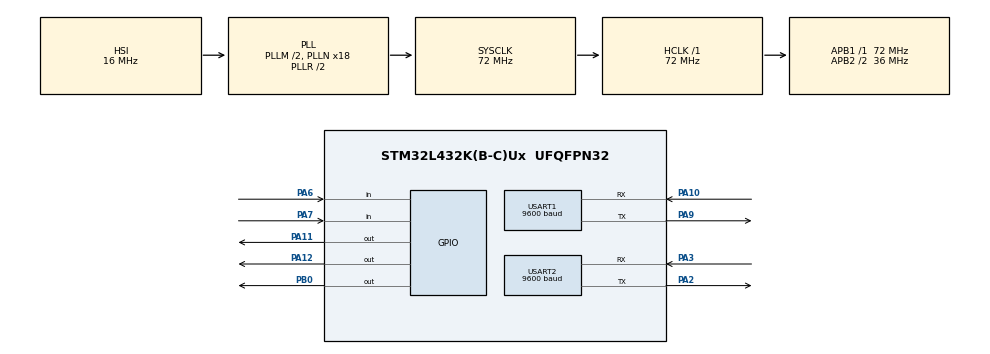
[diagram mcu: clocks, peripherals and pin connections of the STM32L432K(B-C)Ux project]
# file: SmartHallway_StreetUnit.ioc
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Mcu.Family=STM32L4
Mcu.Name=STM32L432K(B-C)Ux
Mcu.Package=UFQFPN32
NVIC.PriorityGroup=NVIC_PRIORITYGROUP_4
NVIC.TIM1_CC_IRQn=true\:0\:0\:false\:false\:true\:true\:true
NVIC.USART1_IRQn=true\:0\:0\:false\:false\:true\:true\:true
NVIC.USART2_IRQn=true\:0\:0\:false\:false\:true\:true\:true
PA10.Mode=Asynchronous
PA10.Signal=USART1_RX
PA11.Signal=GPIO_Output
PA12.Signal=GPIO_Output
PA13\ (JTMS-SWDIO).Mode=Serial_Wire
PA13\ (JTMS-SWDIO).Signal=SYS_JTMS-SWDIO
PA14\ (JTCK-SWCLK).Mode=Serial_Wire
PA14\ (JTCK-SWCLK).Signal=SYS_JTCK-SWCLK
PA2.Mode=Asynchronous
PA2.Signal=USART2_TX
PA3.Mode=Asynchronous
PA3.Signal=USART2_RX
PA6.Signal=GPIO_Input
PA7.Signal=GPIO_Input
PA9.Mode=Asynchronous
PA9.Signal=USART1_TX
PB0.Signal=GPIO_Output
PC14-OSC32_IN\ (PC14).Mode=LSE-External-Oscillator
PC14-OSC32_IN\ (PC14).Signal=RCC_OSC32_IN
PC15-OSC32_OUT\ (PC15).Mode=LSE-External-Oscillator
PC15-OSC32_OUT\ (PC15).Signal=RCC_OSC32_OUT
ProjectManager.HeapSize=0x200
ProjectManager.StackSize=0x400
ProjectManager.TargetToolchain=MDK-ARM V5.27
RCC.ADCFreq_Value=32000000
RCC.AHBFreq_Value=72000000
RCC.APB1Freq_Value=72000000
RCC.APB1TimFreq_Value=72000000
RCC.APB2CLKDivider=RCC_HCLK_DIV2
RCC.APB2Freq_Value=36000000
RCC.APB2TimFreq_Value=72000000
RCC.CortexFreq_Value=72000000
RCC.HCLKFreq_Value=72000000
RCC.HSE_VALUE=8000000
RCC.HSI48_VALUE=48000000
RCC.HSI_VALUE=16000000
RCC.MSI_VALUE=4000000
RCC.PLLM=2
RCC.PLLN=18
RCC.PLLSourceVirtual=RCC_PLLSOURCE_HSI
RCC.SYSCLKFreq_VALUE=72000000
RCC.SYSCLKSource=RCC_SYSCLKSOURCE_PLLCLK
RCC.USBFreq_Value=32000000
RCC.VCOOutputFreq_Value=144000000
TIM1.Period=0xffff-1
TIM1.Prescaler=8-1
USART1.BaudRate=9600
USART1.VirtualMode-Asynchronous=VM_ASYNC
USART2.BaudRate=9600
USART2.VirtualMode-Asynchronous=VM_ASYNC
VP_TIM1_VS_ClockSourceINT.Mode=Internal
board=custom

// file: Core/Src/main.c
/* USER CODE BEGIN Header */
/**
  ******************************************************************************
  * @file           : main.c
  * @brief          : Main program body
  ******************************************************************************
  * @attention
  *
  * <h2><center>&copy; Copyright (c) 2021 STMicroelectronics.
  * All rights reserved.</center></h2>
  *
  * This software component is licensed by ST under BSD 3-Clause license,
  * the "License"; You may not use this file except in compliance with the
  * License. You may obtain a copy of the License at:
  *                        opensource.org/licenses/BSD-3-Clause
  *
  ******************************************************************************
  */
/* USER CODE END Header */
#include "main.h"

/* USER CODE BEGIN PTD */
#define    BUZZER_PORT      GPIOA
#define    BUZZER_PIN       GPIO_PIN_11
/* USER CODE END PTD */

/* USER CODE BEGIN PD */
GPIO_TypeDef*   LED_PORTS[8] = { GPIOA,      GPIOB, 		 GPIOB, 		 GPIOB, 		 GPIOB, 		 GPIOC, 			GPIOC, 			 GPIOA, 		};
uint16_t        LED_PINS[8] =  { GPIO_PIN_12,GPIO_PIN_0, GPIO_PIN_7, GPIO_PIN_6, GPIO_PIN_1, GPIO_PIN_14, GPIO_PIN_15, GPIO_PIN_8,   };

GPIO_TypeDef*   IR_PORTS[8] = {GPIOA, 		 GPIOA, 		 GPIOA, 		 GPIOA, 		 GPIOA, 			GPIOA, 			 GPIOA			};
uint16_t 			  IR_PINS[8] = 	{GPIO_PIN_7, GPIO_PIN_6, GPIO_PIN_5, GPIO_PIN_4, GPIO_PIN_3,  GPIO_PIN_1,  GPIO_PIN_0 };

/* USER CODE END PD */

TIM_HandleTypeDef htim1;

UART_HandleTypeDef huart1;
UART_HandleTypeDef huart2;

void SystemClock_Config(void);
static void MX_GPIO_Init(void);
static void MX_TIM1_Init(void);
static void MX_USART1_UART_Init(void);
static void MX_USART2_UART_Init(void);

int main(void)
{
  /* USER CODE BEGIN 1 */
		uint8_t LED_ON_COUNTER;
	  uint8_t LED_TRACKER[8] = {0,0,0,0,0,0,0,0};
  /* USER CODE END 1 */

  /* MCU Configuration--------------------------------------------------------*/

  /* Reset of all peripherals, Initializes the Flash interface and the Systick. */
  HAL_Init();

  /* Configure the system clock */
  SystemClock_Config();

  /* Initialize all configured peripherals */
  MX_GPIO_Init();
  MX_TIM1_Init();
  MX_USART1_UART_Init();
  MX_USART2_UART_Init();
  /* USER CODE BEGIN 2 */

	uint8_t TOTAL_MAX_LEDS=2;
	uint8_t THRESHOLD=2;
	uint8_t sumOfPeople=0;

		HAL_UART_Transmit(&huart1,(uint8_t*)"\r\nEnter Total Amount of LEDs\r\n",sizeof("\r\nEnter Total Amount of LEDs\r\n"),HAL_MAX_DELAY);
		HAL_UART_Receive(&huart1,&TOTAL_MAX_LEDS,sizeof(TOTAL_MAX_LEDS),HAL_MAX_DELAY);
	  HAL_UART_Transmit(&huart1,&TOTAL_MAX_LEDS,sizeof(TOTAL_MAX_LEDS),HAL_MAX_DELAY);
		TOTAL_MAX_LEDS=TOTAL_MAX_LEDS-'0';

		HAL_UART_Transmit(&huart1,(uint8_t*)"\r\nEnter Threshold\r\n",sizeof("\r\nEnter Threshold\r\n"),HAL_MAX_DELAY);
		HAL_UART_Receive(&huart1,&THRESHOLD,sizeof(TOTAL_MAX_LEDS),HAL_MAX_DELAY);
	  HAL_UART_Transmit(&huart1,&THRESHOLD,sizeof(TOTAL_MAX_LEDS),HAL_MAX_DELAY);
		THRESHOLD=THRESHOLD-'0';

		for(int i=0;i<TOTAL_MAX_LEDS;i++)																											// Reset LED Pins
				HAL_GPIO_WritePin(LED_PORTS[i], LED_PINS[i], GPIO_PIN_RESET);
		HAL_GPIO_WritePin(BUZZER_PORT, BUZZER_PIN, GPIO_PIN_RESET);

  /* USER CODE END 2 */

  /* Infinite loop */
  /* USER CODE BEGIN WHILE */
  while (1)
  {
		LED_ON_COUNTER=0;
		for(int i=0;i<TOTAL_MAX_LEDS;i++){
			if((HAL_GPIO_ReadPin(IR_PORTS[i],IR_PINS[i])) == 1){
				HAL_GPIO_WritePin(LED_PORTS[i], LED_PINS[i], 1);
				while(HAL_GPIO_ReadPin(IR_PORTS[i],IR_PINS[i]) == 1){};
				// ACTIVE HIGH
				if(i==0 && sumOfPeople<9)sumOfPeople++;
				else if(i==TOTAL_MAX_LEDS-1 && sumOfPeople>0)sumOfPeople--;
				LED_ON_COUNTER++;
				LED_TRACKER[i]=1;
			}
			else{
				HAL_GPIO_WritePin(LED_PORTS[i], LED_PINS[i], GPIO_PIN_RESET);
				LED_TRACKER[i]=0;
			}

// ========== FOR TESTING ===============
			if(LED_TRACKER[i]){
				uint8_t LED_DISPLAY[10] = {'l','e','d',' ',i+1+'0',' ','o','n','\r','\n'};
				HAL_UART_Transmit(&huart2,LED_DISPLAY,sizeof(LED_DISPLAY),HAL_MAX_DELAY);
			}else{
				uint8_t LED_DISPLAY[11] = {'l','e','d',' ',i+1+'0',' ','o','f','f','\r','\n'};
				HAL_UART_Transmit(&huart2,LED_DISPLAY,sizeof(LED_DISPLAY),HAL_MAX_DELAY);
			}
// ======================================
		}
		if(sumOfPeople>=THRESHOLD){
			HAL_GPIO_WritePin(BUZZER_PORT, BUZZER_PIN,1);
			uint8_t THRESHOLD_DISPLAY[20] = {'l','i','m','i','t',' ','e','x','c','e','e','d','e','d','\r','\n'};	// For Testing
			HAL_UART_Transmit(&huart2,THRESHOLD_DISPLAY,sizeof(THRESHOLD_DISPLAY),HAL_MAX_DELAY);									// For Testing
		}
		else
			HAL_GPIO_WritePin(BUZZER_PORT, BUZZER_PIN, GPIO_PIN_RESET);

		HAL_UART_Transmit(&huart2,(uint8_t*)"\r\n",sizeof("\r\n"),HAL_MAX_DELAY);																				// For Testing
		uint8_t display[20] = {'T','o','t','a','l',' ','P','e','o','p','l','e',' ','I','n',' ',sumOfPeople+'0',' ','\r','\n'};						// For Testing
		HAL_UART_Transmit(&huart2,display,sizeof(display),HAL_MAX_DELAY);																				// For Testing
		HAL_UART_Transmit(&huart2,(uint8_t*)"\r\n",sizeof("\r\n"),HAL_MAX_DELAY);																				// For Testing
		//HAL_UART_Transmit(&huart1 , &LED_ON_COUNTER , sizeof(LED_ON_COUNTER) ,HAL_MAX_DELAY);									// Sending Over to another MCU
		//HAL_UART_Transmit(&huart1 , LED_TRACKER , sizeof(LED_TRACKER) ,HAL_MAX_DELAY);									// Sending Over to another MCU

		//HAL_Delay(2000);
    /* USER CODE END WHILE */

  }
}

void SystemClock_Config(void)
{
  RCC_OscInitTypeDef RCC_OscInitStruct = {0};
  RCC_ClkInitTypeDef RCC_ClkInitStruct = {0};
  RCC_PeriphCLKInitTypeDef PeriphClkInit = {0};

  /** Initializes the RCC Oscillators according to the specified parameters
  * in the RCC_OscInitTypeDef structure.
  */
  RCC_OscInitStruct.OscillatorType = RCC_OSCILLATORTYPE_HSI;
  RCC_OscInitStruct.HSIState = RCC_HSI_ON;
  RCC_OscInitStruct.HSICalibrationValue = RCC_HSICALIBRATION_DEFAULT;
  RCC_OscInitStruct.PLL.PLLState = RCC_PLL_ON;
  RCC_OscInitStruct.PLL.PLLSource = RCC_PLLSOURCE_HSI;
  RCC_OscInitStruct.PLL.PLLM = 2;
  RCC_OscInitStruct.PLL.PLLN = 18;
  RCC_OscInitStruct.PLL.PLLP = RCC_PLLP_DIV7;
  RCC_OscInitStruct.PLL.PLLQ = RCC_PLLQ_DIV2;
  RCC_OscInitStruct.PLL.PLLR = RCC_PLLR_DIV2;
  if (HAL_RCC_OscConfig(&RCC_OscInitStruct) != HAL_OK)
  {
    Error_Handler();
  }
  /** Initializes the CPU, AHB and APB buses clocks
  */
  RCC_ClkInitStruct.ClockType = RCC_CLOCKTYPE_HCLK|RCC_CLOCKTYPE_SYSCLK
                              |RCC_CLOCKTYPE_PCLK1|RCC_CLOCKTYPE_PCLK2;
  RCC_ClkInitStruct.SYSCLKSource = RCC_SYSCLKSOURCE_PLLCLK;
  RCC_ClkInitStruct.AHBCLKDivider = RCC_SYSCLK_DIV1;
  RCC_ClkInitStruct.APB1CLKDivider = RCC_HCLK_DIV1;
  RCC_ClkInitStruct.APB2CLKDivider = RCC_HCLK_DIV2;

  if (HAL_RCC_ClockConfig(&RCC_ClkInitStruct, FLASH_LATENCY_4) != HAL_OK)
  {
    Error_Handler();
  }
  PeriphClkInit.PeriphClockSelection = RCC_PERIPHCLK_USART1|RCC_PERIPHCLK_USART2;
  PeriphClkInit.Usart1ClockSelection = RCC_USART1CLKSOURCE_PCLK2;
  PeriphClkInit.Usart2ClockSelection = RCC_USART2CLKSOURCE_PCLK1;
  if (HAL_RCCEx_PeriphCLKConfig(&PeriphClkInit) != HAL_OK)
  {
    Error_Handler();
  }
  /** Configure the main internal regulator output voltage
  */
  if (HAL_PWREx_ControlVoltageScaling(PWR_REGULATOR_VOLTAGE_SCALE1) != HAL_OK)
  {
    Error_Handler();
  }
}

static void MX_TIM1_Init(void)
{

  TIM_ClockConfigTypeDef sClockSourceConfig = {0};
  TIM_MasterConfigTypeDef sMasterConfig = {0};

  htim1.Instance = TIM1;
  htim1.Init.Prescaler = 8-1;
  htim1.Init.CounterMode = TIM_COUNTERMODE_UP;
  htim1.Init.Period = 0xffff-1;
  htim1.Init.ClockDivision = TIM_CLOCKDIVISION_DIV1;
  htim1.Init.RepetitionCounter = 0;
  htim1.Init.AutoReloadPreload = TIM_AUTORELOAD_PRELOAD_DISABLE;
  if (HAL_TIM_Base_Init(&htim1) != HAL_OK)
  {
    Error_Handler();
  }
  sClockSourceConfig.ClockSource = TIM_CLOCKSOURCE_INTERNAL;
  if (HAL_TIM_ConfigClockSource(&htim1, &sClockSourceConfig) != HAL_OK)
  {
    Error_Handler();
  }
  sMasterConfig.MasterOutputTrigger = TIM_TRGO_RESET;
  sMasterConfig.MasterOutputTrigger2 = TIM_TRGO2_RESET;
  sMasterConfig.MasterSlaveMode = TIM_MASTERSLAVEMODE_DISABLE;
  if (HAL_TIMEx_MasterConfigSynchronization(&htim1, &sMasterConfig) != HAL_OK)
  {
    Error_Handler();
  }

}

static void MX_USART1_UART_Init(void)
{

  huart1.Instance = USART1;
  huart1.Init.BaudRate = 9600;
  huart1.Init.WordLength = UART_WORDLENGTH_8B;
  huart1.Init.StopBits = UART_STOPBITS_1;
  huart1.Init.Parity = UART_PARITY_NONE;
  huart1.Init.Mode = UART_MODE_TX_RX;
  huart1.Init.HwFlowCtl = UART_HWCONTROL_NONE;
  huart1.Init.OverSampling = UART_OVERSAMPLING_16;
  huart1.Init.OneBitSampling = UART_ONE_BIT_SAMPLE_DISABLE;
  huart1.AdvancedInit.AdvFeatureInit = UART_ADVFEATURE_NO_INIT;
  if (HAL_UART_Init(&huart1) != HAL_OK)
  {
    Error_Handler();
  }

}

static void MX_USART2_UART_Init(void)
{

  huart2.Instance = USART2;
  huart2.Init.BaudRate = 9600;
  huart2.Init.WordLength = UART_WORDLENGTH_8B;
  huart2.Init.StopBits = UART_STOPBITS_1;
  huart2.Init.Parity = UART_PARITY_NONE;
  huart2.Init.Mode = UART_MODE_TX_RX;
  huart2.Init.HwFlowCtl = UART_HWCONTROL_NONE;
  huart2.Init.OverSampling = UART_OVERSAMPLING_16;
  huart2.Init.OneBitSampling = UART_ONE_BIT_SAMPLE_DISABLE;
  huart2.AdvancedInit.AdvFeatureInit = UART_ADVFEATURE_NO_INIT;
  if (HAL_UART_Init(&huart2) != HAL_OK)
  {
    Error_Handler();
  }

}

static void MX_GPIO_Init(void)
{
  GPIO_InitTypeDef GPIO_InitStruct = {0};

  /* GPIO Ports Clock Enable */
  __HAL_RCC_GPIOC_CLK_ENABLE();
  __HAL_RCC_GPIOA_CLK_ENABLE();
  __HAL_RCC_GPIOB_CLK_ENABLE();

  /*Configure GPIO pin Output Level */
  HAL_GPIO_WritePin(GPIOB, GPIO_PIN_0, GPIO_PIN_RESET);

  /*Configure GPIO pin Output Level */
  HAL_GPIO_WritePin(GPIOA, GPIO_PIN_11|GPIO_PIN_12, GPIO_PIN_RESET);

  /*Configure GPIO pins : PA6 PA7 */
  GPIO_InitStruct.Pin = GPIO_PIN_6|GPIO_PIN_7;
  GPIO_InitStruct.Mode = GPIO_MODE_INPUT;
  GPIO_InitStruct.Pull = GPIO_NOPULL;
  HAL_GPIO_Init(GPIOA, &GPIO_InitStruct);

  /*Configure GPIO pin : PB0 */
  GPIO_InitStruct.Pin = GPIO_PIN_0;
  GPIO_InitStruct.Mode = GPIO_MODE_OUTPUT_PP;
  GPIO_InitStruct.Pull = GPIO_NOPULL;
  GPIO_InitStruct.Speed = GPIO_SPEED_FREQ_LOW;
  HAL_GPIO_Init(GPIOB, &GPIO_InitStruct);

  /*Configure GPIO pins : PA11 PA12 */
  GPIO_InitStruct.Pin = GPIO_PIN_11|GPIO_PIN_12;
  GPIO_InitStruct.Mode = GPIO_MODE_OUTPUT_PP;
  GPIO_InitStruct.Pull = GPIO_NOPULL;
  GPIO_InitStruct.Speed = GPIO_SPEED_FREQ_LOW;
  HAL_GPIO_Init(GPIOA, &GPIO_InitStruct);

}

void Error_Handler(void)
{
  __disable_irq();
  while (1)
  {
  }
}

/************************ (C) COPYRIGHT STMicroelectronics *****END OF FILE****/
